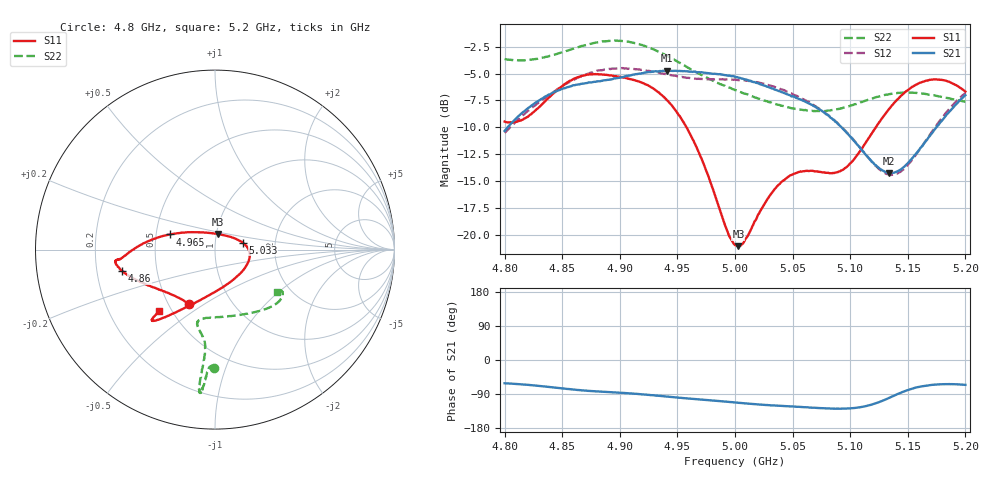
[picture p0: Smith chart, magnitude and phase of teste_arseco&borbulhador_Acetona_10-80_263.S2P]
! Network Analyzer HP8722D
! Hewlett-Packard
! Data name: Linha & Wilkinson
! Saver's name: Rodrigo Anjos
! Comments: Teste da utilização de aquisição
! continua pelo VNA HP8722D
! Time and date: 17/4/2025 16:33
!  Frequency  S11  S21  S12  S22
# HZ  S  MA R 50
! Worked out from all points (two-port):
!   401 points, 4.8 GHz to 5.2 GHz, reference 50 ohm
!   highest |S21| = -4.72 dB at 4.941 GHz (marker M1); lowest = -14.3 dB at 5.134 GHz (marker M2)
!   |S21| within 3 dB of the highest: 4.827 GHz to 5.063 GHz (236.4 MHz wide, 4.78 % of centre); 5.193216 GHz to end of sweep
!   lowest |S11| = -21.1 dB at 5.003 GHz (marker M3), VSWR 1.19, Z = 50.9 + j8.89 ohm
!   |S11| at or under -10 dB: 4.958 GHz to 5.122 GHz (164.2 MHz wide, 3.26 % of centre)
!   |S22| runs from -8.5 to -1.9 dB; largest |S21 - S12| = 0.87
!   S11 on the Smith chart (normalised r, x): 4.8 GHz: 0.63, -0.43; 4.86 GHz: 0.31, -0.10; 4.965 GHz: 0.59, +0.11; 5.033 GHz: 1.36, +0.11; 5.2 GHz: 0.43, -0.37
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4.8e9  0.3362 -115.5  0.3041 -61.4  0.2976 -175.7  0.6575 -90.6
4.819e9  0.352 -135.6  0.3829 -65.3  0.3722 -174.8  0.6517 -92.2
4.86e9  0.5323 -167.2  0.4971 -77.9  0.5263 -178.0  0.7356 -94.4
4.867e9  0.5493 -169.9  0.5047 -80.0  0.5484 -179.2  0.7574 -94.7
4.898e9  0.545 -174.0  0.5367 -86.0  0.5946 174.6  0.802 -96.0
4.934e9  0.4595 -179.8  0.5769 -94.6  0.5688 171.0  0.7097 -96.4
4.941e9  0.4229 177.0  0.5807 -96.5  0.5587 170.9  0.6805 -96.1
4.965e9  0.2666 161.6  0.5757 -103.1  0.5335 172.9  0.5766 -95.6
4.993e9  0.1047 115.7  0.5523 -110.2  0.5284 175.3  0.4894 -98.1
5e9  0.0893 90.9  0.5437 -112.0  0.5292 175.2  0.4712 -99.6
5.003e9  0.08826 79.0  0.5387 -113.0  0.5246 175.1  0.4651 -100.3
5.009e9  0.09523 57.9  0.5289 -114.5  0.523 175.2  0.4536 -101.5
5.033e9  0.1591 14.3  0.4794 -119.7  0.491 173.9  0.4095 -103.5
5.049e9  0.1895 -1.3  0.4404 -122.3  0.4553 173.4  0.3879 -99.3
5.067e9  0.198 -20.6  0.4021 -125.8  0.4055 172.8  0.3776 -89.6
5.096e9  0.205 -71.1  0.3022 -128.3  0.3037 174.7  0.3925 -67.1
5.121e9  0.3085 -109.4  0.2126 -115.6  0.2115 -170.6  0.4345 -49.8
5.134e9  0.3859 -119.6  0.1936 -99.6  0.1906 -153.0  0.4515 -43.2
5.146e9  0.4532 -125.4  0.2052 -83.7  0.2005 -134.7  0.459 -38.6
5.167e9  0.5219 -130.7  0.2779 -67.0  0.2813 -113.7  0.4508 -33.1
5.183e9  0.5216 -132.2  0.3578 -63.7  0.369 -108.2  0.4342 -31.7
5.2e9  0.4638 -132.2  0.4465 -65.6  0.4576 -107.8  0.4157 -34.2
